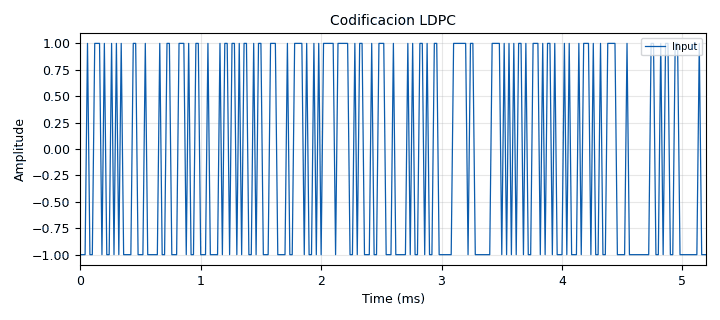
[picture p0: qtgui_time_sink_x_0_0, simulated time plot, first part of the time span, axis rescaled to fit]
options:
  parameters:
    author: Camila Vinza
    category: Custom
    generate_options: qt_gui
    id: ldpc_cod
    output_language: python
    title: LDPC Codificacion
  states: {}

blocks:
- name: freq_rds
  id: variable
  parameters:
    value: 77e6
  states: {}
- name: gainrx
  id: variable_qtgui_range
  parameters:
    label: GananciaRx
    start: '0'
    step: '1'
    stop: '100'
    value: '0'
  states: {}
- name: gaintx
  id: variable_qtgui_range
  parameters:
    label: GananciaTx
    start: '1'
    step: '1'
    stop: '100'
    value: '75'
  states: {}
- name: ldpc_dec
  id: variable_ldpc_decoder_def
  parameters:
    file: gr.prefix() + "/share/gnuradio/fec/ldpc/" + "n_1300_k_0522_gap_30.alist"
    max_iter: '25'
    ndim: '0'
  states: {}
- name: ldpc_enc
  id: variable_ldpc_encoder_def
  parameters:
    file: gr.prefix() + "/share/gnuradio/fec/ldpc/" + "n_1300_k_0522_gap_30.alist"
    ndim: '0'
  states: {}
- name: samp_rate
  id: variable
  parameters:
    value: '50000'
  states: {}
- name: samp_rate_RDS
  id: variable
  parameters:
    value: 96e3
  states: {}
- name: blocks_char_to_float_0
  id: blocks_char_to_float
  parameters:
    scale: '1'
  states: {}
- name: blocks_char_to_float_0_0_0_0
  id: blocks_char_to_float
  parameters:
    scale: '1'
  states: {}
- name: blocks_char_to_float_0_1
  id: blocks_char_to_float
  parameters:
    scale: '1'
  states: {}
- name: blocks_char_to_float_1
  id: blocks_char_to_float
  parameters:
    scale: '1'
  states: {}
- name: blocks_complex_to_float_0
  id: blocks_complex_to_float
  parameters: {}
  states: {}
- name: blocks_float_to_char_0
  id: blocks_float_to_char
  parameters:
    scale: '1'
  states: {}
- name: blocks_float_to_complex_0
  id: blocks_float_to_complex
  parameters: {}
  states: {}
- name: blocks_throttle2_0
  id: blocks_throttle2
  parameters:
    samples_per_second: samp_rate
    type: byte
  states: {}
- name: blocks_unpack_k_bits_bb_0
  id: blocks_unpack_k_bits_bb
  parameters:
    k: '8'
  states: {}
- name: blocks_vector_source_x_0_1_0
  id: blocks_vector_source_x
  parameters:
    repeat: 'True'
    type: byte
    vector: '[1,0,1,0,1,0]'
  states: {}
- name: digital_map_bb_0_0_0_0
  id: digital_map_bb
  parameters:
    map: '[-1, 1]'
  states: {}
- name: digital_map_bb_0_0_0_0_0
  id: digital_map_bb
  parameters:
    map: '[0, 1]'
  states: {}
- name: fec_extended_decoder_0_1_0
  id: fec_extended_decoder
  parameters:
    decoder_list: ldpc_dec
    puncpat: puncpat
    threadtype: none
  states: {}
- name: fec_extended_encoder_1_0_0
  id: fec_extended_encoder
  parameters:
    encoder_list: ldpc_enc
    puncpat: puncpat
    threadtype: none
  states: {}
- name: frame_size
  id: parameter
  parameters:
    label: Frame Size
    type: intx
    value: '100'
  states: {}
- name: puncpat
  id: parameter
  parameters:
    value: '''11'''
  states: {}
- name: qtgui_time_sink_x_0
  id: qtgui_time_sink_x
  parameters:
    alpha2: '0.6'
    label1: Input
    label2: LDPC (alist)
    nconnections: '2'
    size: '2048'
    srate: samp_rate
    type: float
    update_time: '0.01'
    ymax: '1.5'
    ymin: '-0.5'
  states: {}
- name: qtgui_time_sink_x_0_0
  id: qtgui_time_sink_x
  parameters:
    label1: Input
    name: '"Codificacion LDPC"'
    size: '2048'
    srate: samp_rate
    type: float
    update_time: '0.01'
    ymax: '1.5'
    ymin: '-0.5'
  states: {}
- name: uhd_usrp_sink_0_0
  id: uhd_usrp_sink
  parameters:
    ant0: '"TX/RX"'
    bw0: 10e3
    center_freq0: freq_rds
    comment: Transmisor USRP
    dev_addr: '"serial=30875AE"'
    gain0: gaintx
    samp_rate: samp_rate
    sync: pc_clock
    type: fc32
  states: {}
- name: uhd_usrp_source_0
  id: uhd_usrp_source
  parameters:
    ant0: '"RX2"'
    bw0: 10e3
    center_freq0: freq_rds
    comment: Receptor USRP
    dev_addr: '"serial=30875AE"'
    gain0: gainrx
    samp_rate: samp_rate
    sync: pc_clock_next_pps
    type: fc32
  states: {}
- name: virtual_sink_0
  id: virtual_sink
  parameters:
    stream_id: t1
  states: {state: disabled}
- name: virtual_source_0
  id: virtual_source
  parameters:
    stream_id: t1
  states: {state: disabled}

connections:
- [blocks_char_to_float_0, '0', fec_extended_decoder_0_1_0, '0']
- [blocks_char_to_float_0_0_0_0, '0', qtgui_time_sink_x_0, '1']
- [blocks_char_to_float_0_1, '0', qtgui_time_sink_x_0, '0']
- [blocks_char_to_float_1, '0', blocks_float_to_complex_0, '0']
- [blocks_char_to_float_1, '0', qtgui_time_sink_x_0_0, '0']
- [blocks_complex_to_float_0, '0', blocks_float_to_char_0, '0']
- [blocks_float_to_char_0, '0', digital_map_bb_0_0_0_0_0, '0']
- [blocks_float_to_complex_0, '0', uhd_usrp_sink_0_0, '0']
- [blocks_float_to_complex_0, '0', virtual_sink_0, '0']
- [blocks_throttle2_0, '0', blocks_unpack_k_bits_bb_0, '0']
- [blocks_unpack_k_bits_bb_0, '0', blocks_char_to_float_0_1, '0']
- [blocks_unpack_k_bits_bb_0, '0', fec_extended_encoder_1_0_0, '0']
- [blocks_vector_source_x_0_1_0, '0', blocks_throttle2_0, '0']
- [digital_map_bb_0_0_0_0, '0', blocks_char_to_float_1, '0']
- [digital_map_bb_0_0_0_0_0, '0', blocks_char_to_float_0, '0']
- [fec_extended_decoder_0_1_0, '0', blocks_char_to_float_0_0_0_0, '0']
- [fec_extended_encoder_1_0_0, '0', digital_map_bb_0_0_0_0, '0']
- [uhd_usrp_source_0, '0', blocks_complex_to_float_0, '0']
- [virtual_source_0, '0', blocks_complex_to_float_0, '0']

metadata:
  file_format: 1
  grc_version: 3.10.8.0
